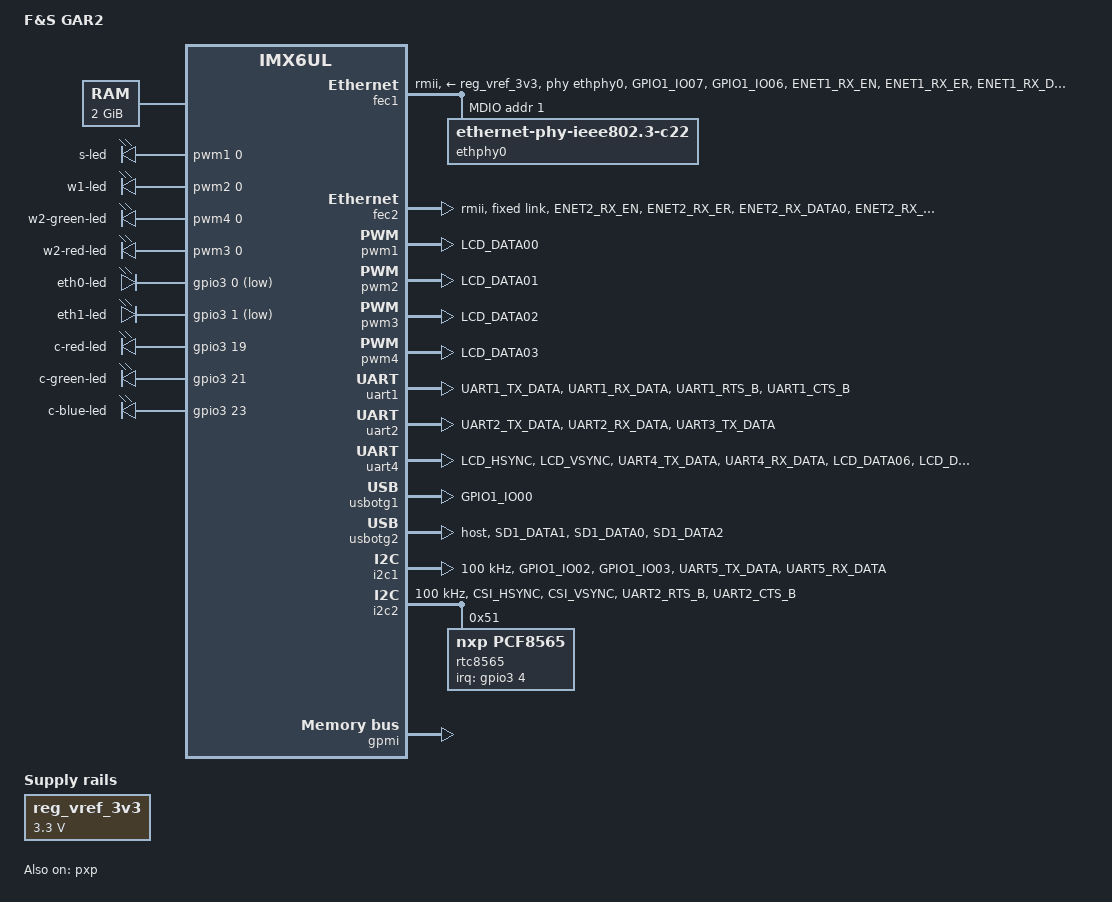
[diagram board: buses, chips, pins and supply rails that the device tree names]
/*
 * Copyright (C) 2020 F&S Elektronik Systeme GmbH
 *
 * This program is free software; you can redistribute it and/or modify
 * it under the terms of the GNU General Public License version 2 as
 * published by the Free Software Foundation.
 */

/dts-v1/;

/* Set board revision as 3-digit number, e.g. 100 for board rev. 1.00 */
#define CONFIG_GAR2_BOARD_REVISION	110

/* CMA: Set 64 MB for Continuous Memory Allocator */
#define CONFIG_GAR2_CMA_SIZE 0x4000000

/* NAND */
#define CONFIG_GAR2_NAND

/* Network */
#define CONFIG_GAR2_ETH0
#define CONFIG_GAR2_ETH1

#include <dt-bindings/input/input.h>
#include "imx6ul.dtsi"

/ {
	model = "F&S GAR2";
	compatible = "fsl,imx6ul-gar2", "fsl,imx6ul";

	aliases {
		ethernet0 = &fec1;
		ethernet1 = &fec2;
	};
#if 0
	chosen {
		stdout-path = &uart1;
	};
#endif
	memory {
		reg = <0x80000000 0x80000000>;
	};

	pwmleds {
		compatible = "pwm-leds";
		s-led {
			label = "s-led";
			pwms = <&pwm1 0 7812500>;
			max-brightness = <255>;
			gamma2;
		};
		w1-led {
			label = "w1-led";
			pwms = <&pwm2 0 7812500>;
			max-brightness = <255>;
			gamma2;
		};
		w2-green-led {
			label = "w2-green-led";
			pwms = <&pwm4 0 7812500>;
			max-brightness = <255>;
			gamma2;
		};
		w2-red-led {
			label = "w2-red-led";
			pwms = <&pwm3 0 7812500>;
			max-brightness = <255>;
			gamma2;
		};
	};

	gpioleds {
		compatible = "gpio-leds";
		pinctrl-names = "default";
		pinctrl-0 = <&pinctrl_led>;

		fec0-led {
			label = "eth0-led";
			gpios = <&gpio3 0 GPIO_ACTIVE_LOW>;
			linux,default-trigger = "2188000.ethernet-1:01";
		};

		fec1-led {
			label = "eth1-led";
			gpios = <&gpio3 1 GPIO_ACTIVE_LOW>;
			linux,default-trigger = "fixed-0:00";
		};

#if (CONFIG_GAR2_BOARD_REVISION > 100)
		c-red-led {
			label = "c-red-led";
			gpios = <&gpio3 19 GPIO_ACTIVE_HIGH>;
		};

		c-green-led {
			label = "c-green-led";
			gpios = <&gpio3 21 GPIO_ACTIVE_HIGH>;
		};

		c-blue-led {
			label = "c-blue-led";
			gpios = <&gpio3 23 GPIO_ACTIVE_HIGH>;
		};
#endif
	};

	pxp_v4l2 {
		compatible = "fsl,imx6ul-pxp-v4l2", "fsl,imx6sx-pxp-v4l2",
			     "fsl,imx6sl-pxp-v4l2";
		status = "okay";
	};

	regulators {
		compatible = "simple-bus";
		#address-cells = <1>;
		#size-cells = <0>;

		reg_vref_3v3: regulator_3v3 {
			compatible = "regulator-fixed";
			regulator-name = "vref-3V3";
			regulator-min-microvolt = <3300000>;
			regulator-max-microvolt = <3300000>;
			regulator-always-on;
		};

		/* USB_OTG1_PWR is always on, no regulator needed */
#if 0 //###
		reg_usb_otg1_vbus: usb_otg1_vbus {
			compatible = "regulator-fixed";
			regulator-name = "usb_otg1_vbus";
			regulator-min-microvolt = <5000000>;
			regulator-max-microvolt = <5000000>;
			regulator-always-on;
		};
#endif //###

		/* USB_OTG2_PWR done by USB controller, no regulator needed */
#if 0
		reg_usb_otg2_vbus: usb_otg2_vbus {
			compatible = "regulator-fixed";
			regulator-name = "usb_otg_vbus";
			regulator-min-microvolt = <5000000>;
			regulator-max-microvolt = <5000000>;
			gpio = <&gpio2 19 0>;
			enable-active-high;
		};
#endif
	};
	/* F&S board information */
	bdinfo {
		compatible = "bdinfo";
		board_name = "GAR2";
		ecc_strength = "8";
	};
};

&clks {
	startup_clocks = <IMX6UL_CLK_ENET_REF>, <IMX6UL_CLK_ENET2_REF>;
};

/* RAM size for Continues Memory Allocator */
&cma {
	size = <CONFIG_GAR2_CMA_SIZE>;
};

&busfreq {
	/* Disable bus frequency scaling, because reducing bus frequency to
	   24 MHz does not work with all types of DDR3 RAM */
	disable-scaling;
};

&cpu0 {
	arm-supply = <&reg_arm>;
	soc-supply = <&reg_soc>;
	fsl,arm-soc-shared = <0>;
};

#ifdef CONFIG_GAR2_ETH0
&fec1 {
	pinctrl-names = "default";
	pinctrl-0 = <&pinctrl_enet1>;
	assigned-clocks = <&clks IMX6UL_CLK_ENET_REF>;
	assigned-clock-rates = <50000000>;
	phy-mode = "rmii";
	phy-reset-gpios = <&gpio4 17 GPIO_ACTIVE_LOW>;
	phy-handle = <&ethphy0>;
	phy-supply = <&reg_vref_3v3>;
	fsl,ref-clock-out;
	status = "okay";

	mdio {
		#address-cells = <1>;
		#size-cells = <0>;

		ethphy0: ethernet-phy@1 {
			compatible = "ethernet-phy-ieee802.3-c22";
			reg = <1>;
		};
	};


};
#endif /* CONFIG_GAR2_ETH0 */

#ifdef CONFIG_GAR2_ETH1
&fec2 {
	pinctrl-names = "default";
	pinctrl-0 = <&pinctrl_enet2>;
	assigned-clocks = <&clks IMX6UL_CLK_ENET2_REF>;
	assigned-clock-rates = <50000000>;
	phy-mode = "rmii";
	fsl,ref-clock-out;
	status = "okay";

	/* FEC2 is directly connected to ethernet switch SJA1105 port 4 */
	fixed-link {
		speed = <100>;
		full-duplex;
	};
};
#endif /* CONFIG_GAR2_ETH1 */

&gpc {
	fsl,cpu_pupscr_sw2iso = <0x2>;
	fsl,cpu_pupscr_sw = <0x1>;
	fsl,cpu_pdnscr_iso2sw = <0x1>;
	fsl,cpu_pdnscr_iso = <0x1>;
	fsl,wdog-reset = <1>; /* watchdog select of reset source */
	fsl,ldo-bypass = <0>; /* DCDC, ldo-enable */
};

&pwm1 {
	pinctrl-names = "default";
	pinctrl-0 = <&pinctrl_pwm1>;
	status = "okay";
};

&pwm2 {
	pinctrl-names = "default";
	pinctrl-0 = <&pinctrl_pwm2>;
	status = "okay";
};

&pwm3 {
	pinctrl-names = "default";
	pinctrl-0 = <&pinctrl_pwm3>;
	status = "okay";
};

&pwm4 {
	pinctrl-names = "default";
	pinctrl-0 = <&pinctrl_pwm4>;
	status = "okay";
};

&pxp {
	status = "okay";
};

/* UART_A */
&uart1 {
	pinctrl-names = "default";
	pinctrl-0 = <&pinctrl_uart1>;
	uart-has-rtscts;
	status = "okay";
};

/* UART_B */
&uart2 {
	pinctrl-names = "default";
	pinctrl-0 = <&pinctrl_uart2>;
	uart-has-rtscts;
	status = "okay";
};

/* UART_C */
&uart4 {
	pinctrl-names = "default";
	pinctrl-0 = <&pinctrl_uart4>;
	uart-has-rtscts;
	status = "okay";
};


&usbotg1 {
	pinctrl-names = "default";
	pinctrl-0 = <&pinctrl_usbotg1>;
//###	vbus-supply = <&reg_usb_otg1_vbus>;
	disable-over-current;
	status = "okay";
};

&usbotg2 {
	pinctrl-names = "default";
	pinctrl-0 = <&pinctrl_usbotg2>;
//###	vbus-supply = <&reg_usb_otg2_vbus>;
	dr_mode = "host";
	pwr-active-high;
	disable-over-current;
	status = "okay";
};

/* I2C_A: connector: J7 */
&i2c1 {
	clock-frequency = <100000>;
	pinctrl-names = "default";
	pinctrl-0 = <&pinctrl_i2c1>;
	status = "okay";
};

/* I2C_B: RTC (PCA8565) */
&i2c2 {
	clock-frequency = <100000>;
	pinctrl-names = "default";
	pinctrl-0 = <&pinctrl_i2c2>;
	status = "okay";

	rtc8565@51 {
		compatible = "nxp,pcf8565", "nxp,pcf8563";
		reg = <0x51>;
		interrupt-parent = <&gpio3>;
		interrupts = <4 IRQ_TYPE_EDGE_FALLING>;
	};
};

&dma_apbh {
	/* Switch to F&S implementation of APBH DMA driver for GPMI (NAND) */
	compatible = "fus,imx6ul-dma-apbh", "fus,imx28-dma-apbh";
	iram = <&ocram>;
};

#ifdef CONFIG_GAR2_NAND
&gpmi {
	/* Switch to F&S implementation of GPMI NAND driver */
	compatible = "fus,imx6ul-gpmi-nand", "fus,imx6q-gpmi-nand";
	pinctrl-names = "default";
//###	pinctrl-0 = <&pinctrl_gpmi_nand_1>;
	fus,skipblocks = <2>;
	fus,chunk1k;
	fus,ecc_strength = <8>;
	status = "okay";
};
#endif

&iomuxc {
	pinctrl-names = "default";
	pinctrl-0 = <&pinctrl_hog_1>;
	GAR2 {
		pinctrl_hog_1: hoggrp-1 {
			fsl,pins = <
				/* LED0_Test */
				MX6UL_PAD_GPIO1_IO01__GPIO1_IO01	0x0f0b0
				/* LED1_Test */
				MX6UL_PAD_GPIO1_IO04__GPIO1_IO04	0x0f0b0
				/* LED2_Test */
				MX6UL_PAD_GPIO1_IO05__GPIO1_IO05	0x0f0b0
				/* LED3_Test */
				MX6UL_PAD_GPIO1_IO08__GPIO1_IO08	0x0f0b0
				/* LED4_Test */
				MX6UL_PAD_GPIO1_IO09__GPIO1_IO09	0x0f0b0
				/* LED5_Test */
				MX6UL_PAD_LCD_DATA15__GPIO3_IO20	0x0f0b0
				/* LED6_Test */
				MX6UL_PAD_LCD_DATA17__GPIO3_IO22	0x0f0b0
				/* LED7_Test */
				MX6UL_PAD_LCD_DATA19__GPIO3_IO24	0x0f0b0
				/* GPIO0 - GPIO3 */
				MX6UL_PAD_UART3_RTS_B__GPIO1_IO27	0x000b0
				MX6UL_PAD_UART3_CTS_B__GPIO1_IO26	0x000b0
				MX6UL_PAD_LCD_DATA04__GPIO3_IO09	0x000b0
				MX6UL_PAD_LCD_DATA05__GPIO3_IO10	0x000b0
				/* USB_OTG1 Power on/off based on customers' demand using
				 * GPIO pin.
				 */
				MX6UL_PAD_SD1_CMD__GPIO2_IO16		0x000b0
				/* RTC IRQ */
				MX6UL_PAD_LCD_RESET__GPIO3_IO04		0x0b0b0
			>;
		};

#ifdef CONFIG_GAR2_ETH0
		pinctrl_enet1: enet1grp {
			fsl,pins = <
				/* MDIO */
				MX6UL_PAD_GPIO1_IO07__ENET1_MDC		0x1b0b0
				MX6UL_PAD_GPIO1_IO06__ENET1_MDIO	0x1b829

				/* FEC1 */
				MX6UL_PAD_ENET1_RX_EN__ENET1_RX_EN	0x0b0e9
				MX6UL_PAD_ENET1_RX_ER__ENET1_RX_ER	0x0b0e9
				MX6UL_PAD_ENET1_RX_DATA0__ENET1_RDATA00	0x030e9
				MX6UL_PAD_ENET1_RX_DATA1__ENET1_RDATA01	0x030e9
				MX6UL_PAD_ENET1_TX_EN__ENET1_TX_EN	0x0b0e9
				MX6UL_PAD_ENET1_TX_DATA0__ENET1_TDATA00	0x0b0e9
				MX6UL_PAD_ENET1_TX_DATA1__ENET1_TDATA01	0x0b0e9
				MX6UL_PAD_ENET1_TX_CLK__ENET1_REF_CLK1	0x4001b008
				/* Phy reset IO pin */
				MX6UL_PAD_CSI_MCLK__GPIO4_IO17		0x0b0b0
			>;
		};
#endif

#ifdef CONFIG_GAR2_ETH1
		pinctrl_enet2: enet2grp {
			fsl,pins = <
				/* FEC2 */
				MX6UL_PAD_ENET2_RX_EN__ENET2_RX_EN	0x0b0e9
				MX6UL_PAD_ENET2_RX_ER__ENET2_RX_ER	0x030e9
				MX6UL_PAD_ENET2_RX_DATA0__ENET2_RDATA00	0x030e9
				MX6UL_PAD_ENET2_RX_DATA1__ENET2_RDATA01	0x030e9
				MX6UL_PAD_ENET2_TX_EN__ENET2_TX_EN	0x0b0e9
				MX6UL_PAD_ENET2_TX_DATA0__ENET2_TDATA00	0x0b0e9
				MX6UL_PAD_ENET2_TX_DATA1__ENET2_TDATA01	0x0b0e9
				MX6UL_PAD_ENET2_TX_CLK__ENET2_REF_CLK2	0x4001b008
				/* Phy reset IO pin */
				MX6UL_PAD_CSI_PIXCLK__GPIO4_IO18	0x0b0b0
			>;
		};
#endif

		pinctrl_led: ledgrp {
			fsl,pins = <
				MX6UL_PAD_LCD_CLK__GPIO3_IO00		0x1b059
				MX6UL_PAD_LCD_ENABLE__GPIO3_IO01 	0x1b059
#if (CONFIG_GAR2_BOARD_REVISION > 100)
				MX6UL_PAD_LCD_DATA14__GPIO3_IO19	0x130b0
				MX6UL_PAD_LCD_DATA16__GPIO3_IO21	0x130b0
				MX6UL_PAD_LCD_DATA18__GPIO3_IO23	0x130b0
#endif
			>;
		};

		pinctrl_pwm1: pwm1grp {
			fsl,pins = <
				MX6UL_PAD_LCD_DATA00__PWM1_OUT		0x110b0
			>;
		};

		pinctrl_pwm2: pwm2grp {
			fsl,pins = <
				MX6UL_PAD_LCD_DATA01__PWM2_OUT		0x110b0
			>;
		};

		pinctrl_pwm3: pwm3grp {
			fsl,pins = <
				MX6UL_PAD_LCD_DATA02__PWM3_OUT		0x110b0
			>;
		};

		pinctrl_pwm4: pwm4grp {
			fsl,pins = <
				MX6UL_PAD_LCD_DATA03__PWM4_OUT		0x110b0
			>;
		};

		pinctrl_uart1: uart1grp {
			fsl,pins = <
				MX6UL_PAD_UART1_TX_DATA__UART1_DCE_TX	0x1b0b1
				MX6UL_PAD_UART1_RX_DATA__UART1_DCE_RX	0x1b0b1
				MX6UL_PAD_UART1_RTS_B__UART1_DCE_RTS	0x1b0b1
				MX6UL_PAD_UART1_CTS_B__UART1_DCE_CTS	0x1b0b1
			>;
		};

		pinctrl_uart2: uart2grp {
			fsl,pins = <
				MX6UL_PAD_UART2_TX_DATA__UART2_DCE_TX	0x1b0b1
				MX6UL_PAD_UART2_RX_DATA__UART2_DCE_RX	0x1b0b1
				MX6UL_PAD_UART3_TX_DATA__UART2_DCE_CTS	0x1b0b1
			>;
		};

		pinctrl_uart4: uart4grp {
			fsl,pins = <
				MX6UL_PAD_LCD_HSYNC__UART4_DTE_RTS 		0x1b0b1
				MX6UL_PAD_LCD_VSYNC__UART4_DTE_CTS		0x1b0b1
				MX6UL_PAD_UART4_TX_DATA__UART4_DCE_TX		0x1b0b1
				MX6UL_PAD_UART4_RX_DATA__UART4_DCE_RX		0x1b0b1
				/* UART4_DTR */
 				MX6UL_PAD_LCD_DATA06__GPIO3_IO11		0x030b0
				/* UART4_DSR */
				MX6UL_PAD_LCD_DATA07__GPIO3_IO12		0x030b0
				/* UART4_DCD */
				MX6UL_PAD_LCD_DATA08__GPIO3_IO13		0x030b0
				/* UART4_RI */
				MX6UL_PAD_LCD_DATA09__GPIO3_IO14		0x030b0
				/* UART4_SHDN */
				MX6UL_PAD_LCD_DATA10__GPIO3_IO15		0x030b0
				/* UART4_ONLINE */
				MX6UL_PAD_LCD_DATA11__GPIO3_IO16		0x030b0
			>;
		};

		pinctrl_usbotg1: usbotg1grp {
			fsl,pins = <
				/* USB_OTG1_ID: low: host, open: device */
				MX6UL_PAD_GPIO1_IO00__ANATOP_OTG1_ID	0x1b000
			>;
		};

		pinctrl_usbotg2: usbotg2grp {
			fsl,pins = <
				/* USB_OTG1_PWR, active high */
//###				MX6UL_PAD_SD1_DATA1__GPIO2_IO19		0x03030
				MX6UL_PAD_SD1_DATA1__USB_OTG2_PWR	0x03030
				/* mPCIe_RST */
				MX6UL_PAD_SD1_DATA0__GPIO2_IO18		0x0b030
				/* mPCIe_WAKE */
				MX6UL_PAD_SD1_DATA2__GPIO2_IO20		0x0b030
			>;
		};

		pinctrl_i2c1: i2c1grp {
			fsl,pins = <
				MX6UL_PAD_GPIO1_IO02__I2C1_SCL		0x4001b8b0
				MX6UL_PAD_GPIO1_IO03__I2C1_SDA		0x4001b8b0
				/* I2C2 IRQn */
				MX6UL_PAD_UART5_TX_DATA__GPIO1_IO30	0x0b0b0
				/*I2C2 RSTn */
				MX6UL_PAD_UART5_RX_DATA__GPIO1_IO31	0x0b0b0
			>;
		};

		pinctrl_i2c2: i2c2grp {
			fsl,pins = <
				MX6UL_PAD_CSI_HSYNC__I2C2_SCL		0x4001b8b0
				MX6UL_PAD_CSI_VSYNC__I2C2_SDA		0x4001b8b0
				/* I2C2 IRQn */
				MX6UL_PAD_UART2_RTS_B__GPIO1_IO23	0x0b0b0
				/*I2C2 RSTn */
				MX6UL_PAD_UART2_CTS_B__GPIO1_IO22	0x0b0b0
			>;
		};

#ifdef CONFIG_GAR2_NAND
#if 0
		pinctrl_gpmi_nand_1: gpmi-nand-1 {
			/* Already configured in NBoot/U-Boot */
			fsl,pins = <
				MX6SX_PAD_NAND_CLE__RAWNAND_CLE		0x0b0b1
				MX6SX_PAD_NAND_ALE__RAWNAND_ALE		0x0b0b1
				MX6SX_PAD_NAND_WP_B__RAWNAND_WP_B	0x0b0b1
				MX6SX_PAD_NAND_READY_B__RAWNAND_READY_B	0x0b000
				MX6SX_PAD_NAND_CE0_B__RAWNAND_CE0_B	0x0b0b1
				//MX6SX_PAD_NAND_CE1_B__RAWNAND_CE1_B	0x0b0b1
				MX6SX_PAD_NAND_RE_B__RAWNAND_RE_B	0x0b0b1
				MX6SX_PAD_NAND_WE_B__RAWNAND_WE_B	0x0b0b1
				MX6SX_PAD_NAND_DATA00__RAWNAND_DATA00	0x0b0b1
				MX6SX_PAD_NAND_DATA01__RAWNAND_DATA01	0x0b0b1
				MX6SX_PAD_NAND_DATA02__RAWNAND_DATA02	0x0b0b1
				MX6SX_PAD_NAND_DATA03__RAWNAND_DATA03	0x0b0b1
				MX6SX_PAD_NAND_DATA04__RAWNAND_DATA04	0x0b0b1
				MX6SX_PAD_NAND_DATA05__RAWNAND_DATA05	0x0b0b1
				MX6SX_PAD_NAND_DATA06__RAWNAND_DATA06	0x0b0b1
				MX6SX_PAD_NAND_DATA07__RAWNAND_DATA07	0x0b0b1
			>;
		};
#endif
#endif
	};
};
